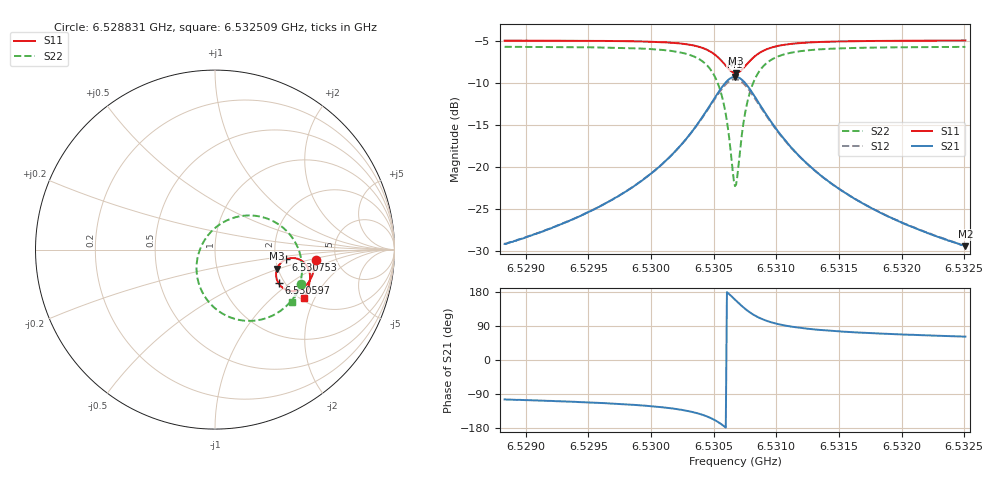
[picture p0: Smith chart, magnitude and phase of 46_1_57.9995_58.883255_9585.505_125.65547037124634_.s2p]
#  HZ  S  RI  R  50.00
! Rohde & Schwarz Vector Network Analyzer
! Rohde-Schwarz,ZNB20-2Port,1311601062101988,3.16
! Created: UTC 3/21/2024, 12:52:17 AM
! freq[Hz]  re:S11  im:S11  re:S21  im:S21  re:S12  im:S12  re:S22  im:S22
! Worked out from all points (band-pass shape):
!   401 points, 6.528831 GHz to 6.532509 GHz, reference 50 ohm
!   highest |S21| = -9.27 dB at 6.53067 GHz (marker M1); lowest = -29.4 dB at 6.532509 GHz (marker M2)
!   |S21| within 3 dB of the highest: 6.530488 GHz to 6.530856 GHz (368.1 kHz wide, 0.00564 % of centre)
!   lowest |S11| = -8.8 dB at 6.53068 GHz (marker M3), VSWR 2.13, Z = 98.9 - j24.2 ohm
!   |S11| at or under -10 dB: nowhere
!   |S22| runs from -22.3 to -5.7 dB; largest |S21 - S12| = 0.015
!   S11 on the Smith chart (normalised r, x): 6.528831 GHz: 3.47, -0.60; 6.530597 GHz: 1.86, -0.83; 6.530753 GHz: 2.28, -0.30; 6.532509 GHz: 2.07, -1.66
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6.5288315e9  0.5606 -0.0593  -0.00853 -0.0339  -0.00926 -0.0337  0.4818 -0.1911
6.5294476e9  0.5512 -0.1126  -0.0188 -0.0483  -0.0198 -0.0478  0.4489 -0.253
6.5297878e9  0.5403 -0.1466  -0.0319 -0.0631  -0.0336 -0.0623  0.4147 -0.2973
6.5300636e9  0.5234 -0.1793  -0.0557 -0.0832  -0.0583 -0.0817  0.3608 -0.3444
6.5302843e9  0.4933 -0.2113  -0.1027 -0.1067  -0.1061 -0.1029  0.2658 -0.3877
6.5304406e9  0.4438 -0.2309  -0.1823 -0.1134  -0.1848 -0.1053  0.1203 -0.3885
6.5305326e9  0.3923 -0.2219  -0.2627 -0.0799  -0.2609 -0.068  -0.0126 -0.3153
6.5305693e9  0.3693 -0.206  -0.2972 -0.0454  -0.2922 -0.033  -0.0638 -0.25
6.5305969e9  0.354 -0.1873  -0.3185 -0.00861  -0.3103 0.00296  -0.0917 -0.1841
6.5306521e9  0.3401 -0.1349  -0.3306 0.0874  -0.3178 0.0939  -0.0919 -0.0236
6.5306705e9  0.343 -0.1159  -0.3219 0.1212  -0.3083 0.1251  -0.0711 0.0299
6.5306797e9  0.346 -0.1065  -0.3151 0.1374  -0.3016 0.1401  -0.0567 0.055
6.5306981e9  0.3547 -0.0891  -0.297 0.1669  -0.2839 0.1673  -0.0214 0.0998
6.5307165e9  0.3664 -0.0745  -0.274 0.1916  -0.262 0.1902  0.0206 0.1363
6.5307532e9  0.3953 -0.0546  -0.2209 0.2242  -0.2118 0.2204  0.1142 0.1804
6.5308176e9  0.4452 -0.0479  -0.1331 0.2349  -0.1287 0.2305  0.2626 0.1815
6.5309096e9  0.4915 -0.0682  -0.0547 0.2033  -0.0527 0.201  0.3909 0.1117
6.5310475e9  0.5199 -0.1058  -0.00622 0.1511  -0.00504 0.1503  0.4637 0.00548
6.5312866e9  0.5296 -0.1527  0.015 0.0974  0.0161 0.0969  0.4853 -0.1062
6.5315716e9  0.5257 -0.1901  0.0187 0.0661  0.0196 0.0657  0.4766 -0.1781
6.5319026e9  0.5166 -0.2232  0.0184 0.0471  0.0191 0.0468  0.4604 -0.2291
6.5325095e9  0.4956 -0.272  0.0161 0.0298  0.0167 0.0297  0.4289 -0.2899
